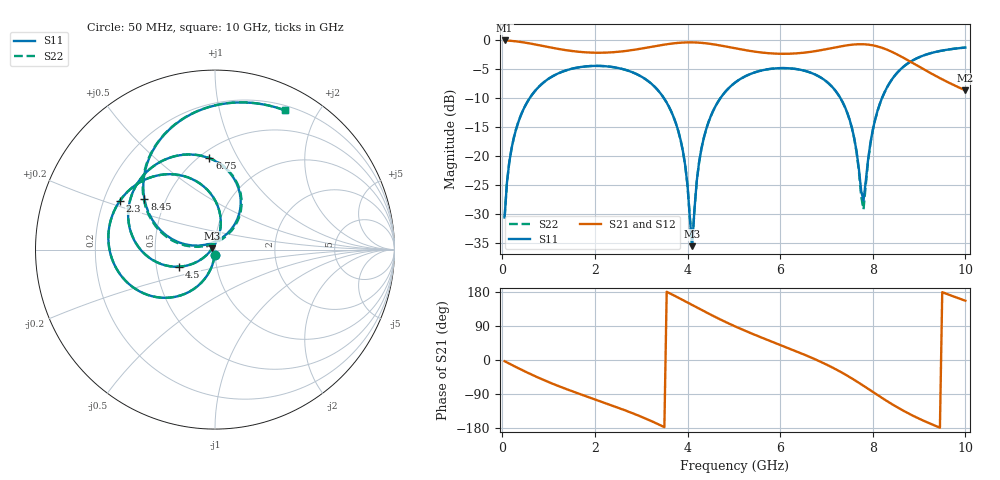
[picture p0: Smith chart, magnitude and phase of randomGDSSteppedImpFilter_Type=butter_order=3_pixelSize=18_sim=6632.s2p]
! freq	dB(S11)	phase(S11)	dB(S12)	phase(S12)
!  dB(S21)	phase(S21)	dB(S22)	phase(S22)
!S-par simulation data
#  GHz  S  DB  R 50
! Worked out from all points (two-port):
!   200 points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, 50 MHz to 10 GHz, reference 50 ohm
!   highest |S21| = -0.01 dB at 50 MHz (marker M1); lowest = -8.6 dB at 10 GHz (marker M2)
!   |S21| within 3 dB of the highest: start of sweep to 8.666 GHz
!   lowest |S11| = -35.5 dB at 4.1 GHz (marker M3), VSWR 1.03, Z = 48.5 + j0.721 ohm
!   |S11| at or under -10 dB: start of sweep to 588.1 MHz; 3.494 GHz to 4.706 GHz (1.212 GHz wide, 29.6 % of centre); 7.305 GHz to 8.197 GHz (891.3 MHz wide, 11.5 % of centre)
!   |S22| runs from -35.5 to -1.2 dB; largest |S21 - S12| = 0
!   S11 on the Smith chart (normalised r, x): 50 MHz: 0.99, -0.06; 2.3 GHz: 0.27, +0.23; 4.5 GHz: 0.66, -0.13; 6.75 GHz: 0.56, +0.77; 8.45 GHz: 0.38, +0.28; 10 GHz: 0.25, +1.59
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0.05  -30.53 -93.3  -0.01 -3.2  -0.01 -3.2  -30.53 -93.3
0.2  -18.62 -103.1  -0.08 -12.7  -0.08 -12.7  -18.62 -103.1
0.5  -11.19 -121.4  -0.39 -30.8  -0.39 -30.8  -11.19 -121.4
1.75  -4.52 176.5  -2.03 -93.1  -2.03 -93.1  -4.52 176.5
2.3  -4.50 152.8  -2.08 -117.0  -2.08 -117.0  -4.50 152.8
3.4  -8.97 100.0  -0.86 -171.3  -0.86 -171.3  -8.97 99.9
3.85  -17.16 76.7  -0.39 161.3  -0.39 161.3  -17.16 76.6
4  -25.04 76.7  -0.34 151.7  -0.34 151.7  -25.03 76.7
4.1  -35.47 153.8  -0.34 145.2  -0.34 145.2  -35.46 153.6
4.25  -20.99 -144.6  -0.39 135.5  -0.39 135.5  -20.99 -144.7
4.5  -13.10 -154.5  -0.60 119.7  -0.60 119.7  -13.10 -154.6
5.05  -7.13 175.8  -1.39 87.4  -1.39 87.4  -7.13 175.6
5.75  -4.95 141.4  -2.20 51.8  -2.20 51.8  -4.95 141.2
6.7  -5.69 96.0  -1.92 4.9  -1.92 4.9  -5.69 95.6
6.75  -5.86 93.5  -1.86 2.2  -1.86 2.2  -5.86 93.0
7.45  -12.49 55.7  -0.84 -41.4  -0.84 -41.4  -12.52 54.2
7.8  -27.62 120.8  -0.66 -68.0  -0.66 -68.0  -29.12 122.6
8  -15.43 170.0  -0.85 -84.1  -0.85 -84.1  -15.51 172.3
8.35  -7.50 151.1  -1.74 -111.7  -1.74 -111.7  -7.52 152.0
8.45  -6.32 144.5  -2.11 -119.1  -2.11 -119.1  -6.33 145.2
9.2  -2.32 100.0  -5.42 -165.9  -5.42 -165.9  -2.32 100.3
10  -1.23 63.3  -8.61 156.5  -8.61 156.5  -1.23 63.5
